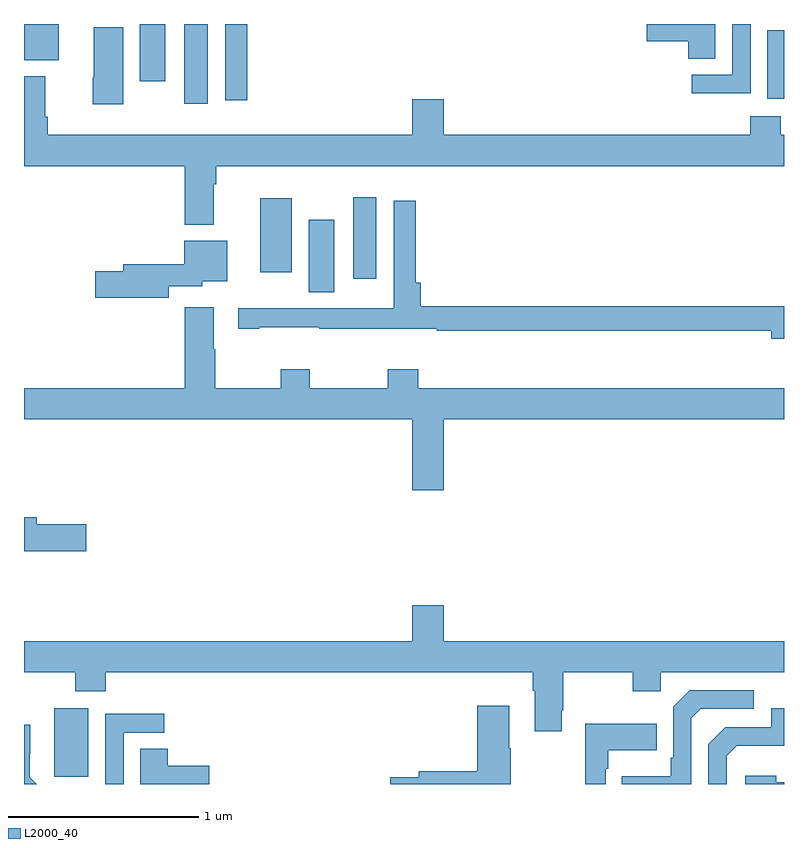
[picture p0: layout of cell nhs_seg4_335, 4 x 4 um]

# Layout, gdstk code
import gdstk
lib = gdstk.Library(unit=1e-6, precision=1e-09)
def R(c, l, rs):  # rectangles x0, y0, x1, y1
    for r in rs: c.add(gdstk.rectangle(r[:2], r[2:], *l))
def P(c, l, *ps):  # polygons
    for p in ps: c.add(gdstk.Polygon(p, *l))
L2000_40 = (2000, 40)

nhs_seg4_335 = lib.new_cell('nhs_seg4_335')
R(nhs_seg4_335, L2000_40, [(127.16,794.937,127.339,795.298), (128.498,797.488,128.632,797.869), (128.732,797.559,128.854,797.989), (128.243,797.594,128.41,797.983), (127.844,798.48,127.966,798.9), (128.058,798.498,128.174,798.9), (130.913,798.506,131,798.867), (127.61,798.6,127.744,798.9), (127,798.71,127.183,798.9)])
P(nhs_seg4_335, L2000_40, [(130.639,798.9),(130.278,798.9),(130.278,798.809),(130.496,798.809),(130.496,798.718),(130.639,798.718)],
  [(130.824,798.9),(130.728,798.9),(130.728,798.633),(130.515,798.633),(130.515,798.535),(130.824,798.535)],
  [(127.522,798.883),(127.367,798.883),(127.367,798.621),(127.361,798.621),(127.361,798.477),(127.522,798.477)],
  [(127.999,798.056),(128.012,798.056),(128.012,798.152),(131,798.152),(131,798.316),(130.983,798.316),(130.983,798.415),(130.823,798.415),(130.823,798.316),(129.208,798.316),(129.208,798.505),(129.044,798.505),(129.044,798.316),(127.124,798.316),(127.124,798.412),(127.111,798.412),(127.111,798.625),(127,798.625),(127,798.152),(127.847,798.152),(127.847,797.843),(127.999,797.843)],
  [(131,797.414),(129.089,797.414),(129.089,797.539),(129.062,797.539),(129.062,797.971),(128.946,797.971),(128.946,797.404),(128.736,797.404),(128.736,797.403),(128.402,797.403),(128.402,797.405),(128.127,797.405),(128.127,797.295),(128.239,797.295),(128.239,797.305),(128.555,797.305),(128.555,797.295),(128.97,797.295),(128.97,797.297),(129.172,797.297),(129.172,797.286),(130.934,797.286),(130.934,797.243),(131,797.243)],
  [(127.762,797.52),(127.938,797.52),(127.938,797.546),(128.071,797.546),(128.071,797.758),(127.844,797.758),(127.844,797.636),(127.523,797.636),(127.523,797.6),(127.374,797.6),(127.374,797.458),(127.762,797.458)],
  [(129.208,796.82),(131,796.82),(131,796.984),(129.074,796.984),(129.074,797.083),(128.914,797.083),(128.914,796.984),(128.505,796.984),(128.505,797.083),(128.35,797.083),(128.35,796.984),(128.007,796.984),(128.007,797.189),(127.999,797.189),(127.999,797.41),(127.847,797.41),(127.847,796.984),(127,796.984),(127,796.82),(129.044,796.82),(129.044,796.446),(129.208,796.446)],
  [(127.327,796.268),(127.066,796.268),(127.066,796.304),(127,796.304),(127,796.126),(127.327,796.126)],
  [(127,795.488),(127.27,795.488),(127.27,795.389),(127.43,795.389),(127.43,795.488),(129.677,795.488),(129.677,795.392),(129.689,795.392),(129.689,795.177),(129.829,795.177),(129.829,795.289),(129.837,795.289),(129.837,795.488),(130.204,795.488),(130.204,795.389),(130.35,795.389),(130.35,795.488),(131,795.488),(131,795.652),(129.208,795.652),(129.208,795.841),(129.044,795.841),(129.044,795.652),(127,795.652)],
  [(130.512,795.246),(130.563,795.297),(130.84,795.297),(130.84,795.393),(130.503,795.393),(130.416,795.306),(130.416,795.037),(130.404,795.037),(130.404,794.941),(130.147,794.941),(130.147,794.9),(130.512,794.9)],
  [(129.561,795.089),(129.553,795.089),(129.553,795.313),(129.386,795.313),(129.386,794.966),(129.077,794.966),(129.077,794.936),(128.928,794.936),(128.928,794.9),(129.561,794.9)],
  [(130.698,795.048),(130.751,795.101),(131,795.101),(131,795.3),(130.932,795.3),(130.932,795.198),(130.692,795.198),(130.602,795.108),(130.602,794.9),(130.698,794.9)],
  [(127.524,795.171),(127.738,795.171),(127.738,795.27),(127.428,795.27),(127.428,794.9),(127.524,794.9)],
  [(130.062,794.981),(130.075,794.981),(130.075,795.077),(130.331,795.077),(130.331,795.217),(129.954,795.217),(129.954,794.9),(130.062,794.9)],
  [(127.031,794.936),(127.031,795.058),(127.032,795.058),(127.032,795.212),(127,795.212),(127,794.9),(127.066,794.9)],
  [(127.975,794.996),(127.757,794.996),(127.757,795.086),(127.613,795.086),(127.613,794.9),(127.975,794.9)],
  [(131,794.91),(130.958,794.91),(130.958,794.944),(130.797,794.944),(130.797,794.9),(131,794.9)])

lib.write_gds('nhs_seg4_335.gds')
